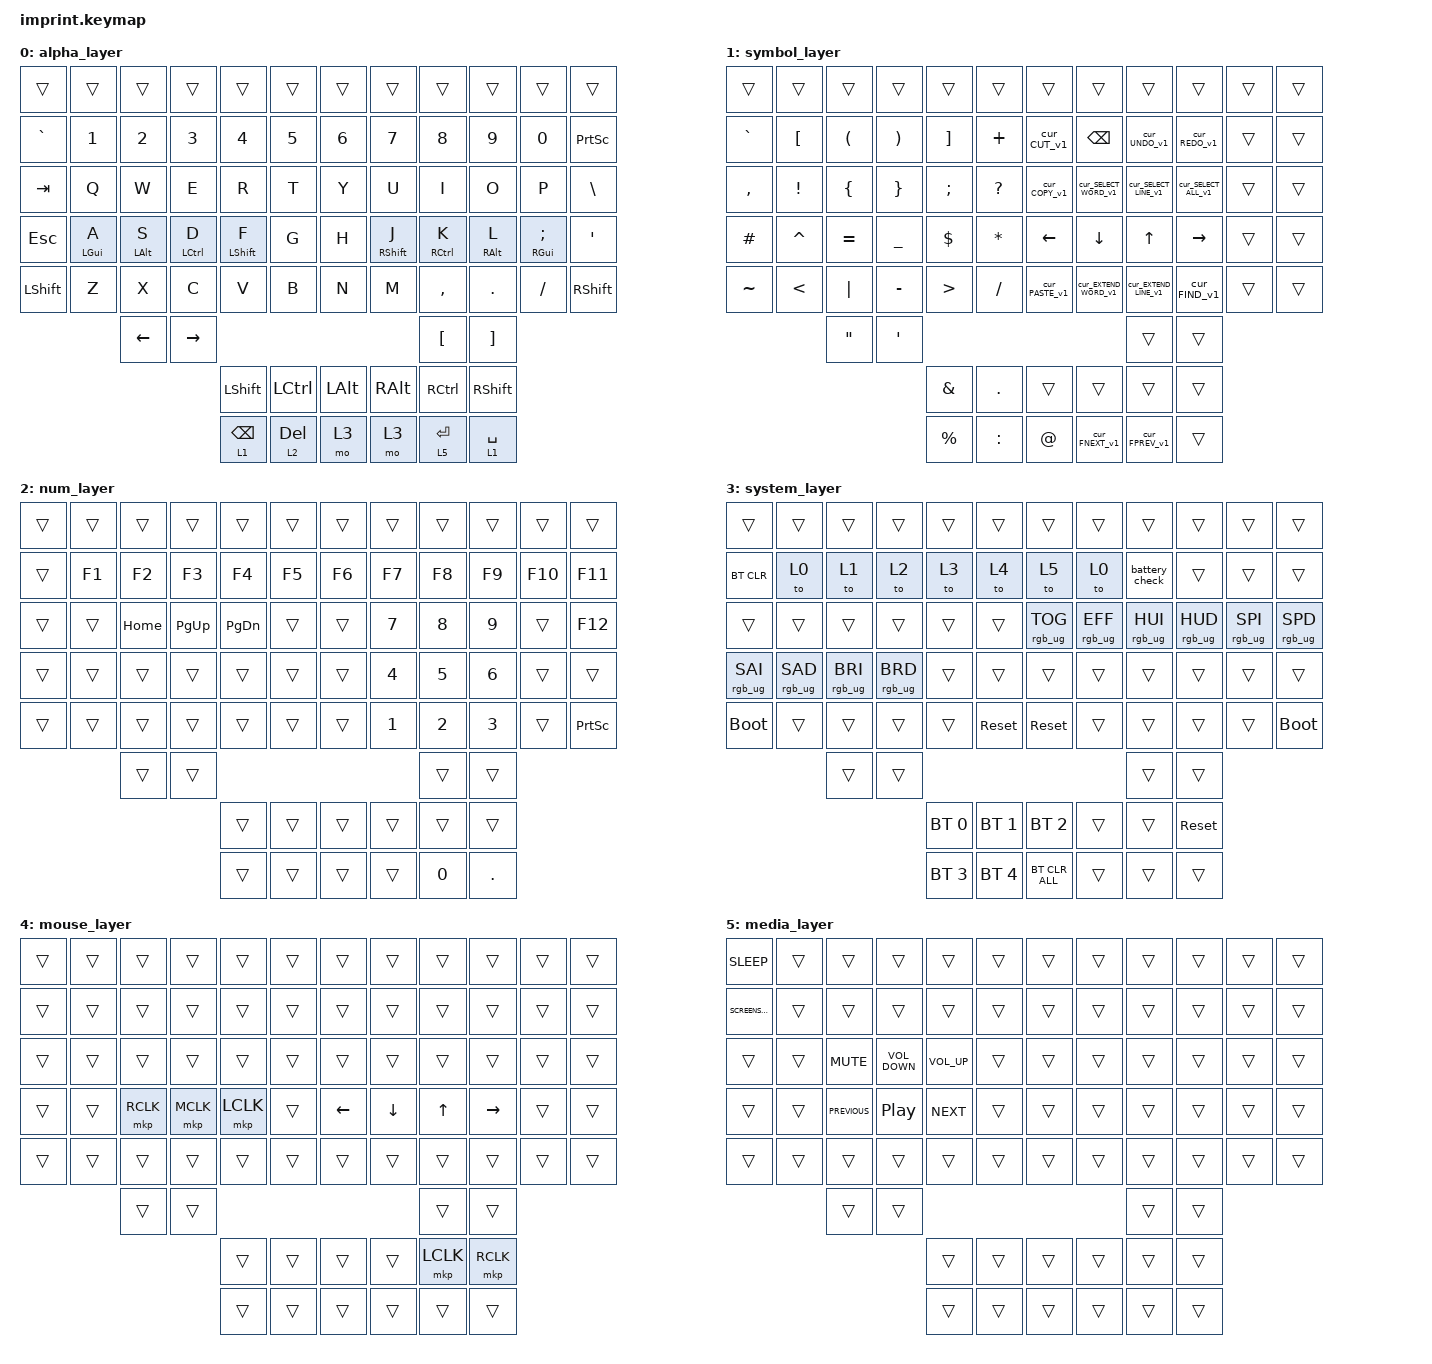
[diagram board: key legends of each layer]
#include <input/processors.dtsi>
#include <dt-bindings/zmk/input_transform.h>
#include <behaviors.dtsi>
#include <dt-bindings/zmk/bt.h>
#include <dt-bindings/zmk/keys.h>
#include <dt-bindings/zmk/pointing.h>
#include <dt-bindings/zmk/rgb.h>

/ {
    chosen { zmk,matrix-transform = &imprint_function_row; };

    behaviors {
        CAPSWord_v1: CAPSWord_v1 {
            compatible = "zmk,behavior-hold-tap";
            #binding-cells = <2>;
            tapping-term-ms = <200>;
            bindings = <&kp>, <&caps_word>;
        };

        HRM_left_index_v1: HRM_left_index_v1 {
            compatible = "zmk,behavior-hold-tap";
            #binding-cells = <2>;
            tapping-term-ms = <170>;
            bindings = <&kp>, <&kp>;

            flavor = "tap-preferred";
            quick-tap-ms = <300>;
            require-prior-idle-ms = <100>;
            hold-trigger-key-positions = <57 56 55 72 73 74 5 6 7 8 16 17 18 19 20 28 29 30 31 32 40 41 42 43 44 58 59 60 61 62 75 76 77 78 9 21 33 45 63 79 52 53 54 70 71 69>;
            hold-trigger-on-release;
        };

        HRM_left_middy_v1: HRM_left_middy_v1 {
            compatible = "zmk,behavior-hold-tap";
            #binding-cells = <2>;
            tapping-term-ms = <210>;
            bindings = <&kp>, <&kp>;

            flavor = "tap-preferred";
            quick-tap-ms = <300>;
            require-prior-idle-ms = <150>;
            hold-trigger-key-positions = <57 56 55 72 73 74 5 6 7 8 16 17 18 19 20 28 29 30 31 32 40 41 42 43 44 58 59 60 61 62 75 76 77 78 9 21 33 45 63 79 52 53 54 69 70 71>;
            hold-trigger-on-release;
        };

        HRM_left_pinky_v1: HRM_left_pinky_v1 {
            compatible = "zmk,behavior-hold-tap";
            #binding-cells = <2>;
            tapping-term-ms = <210>;
            bindings = <&kp>, <&kp>;

            flavor = "tap-preferred";
            quick-tap-ms = <300>;
            require-prior-idle-ms = <150>;
            hold-trigger-key-positions = <57 56 55 72 73 74 5 6 7 8 9 16 17 18 19 20 21 29 30 31 32 33 42 43 44 45 60 61 62 63 28 40 41 58 59 75 76 77 79 78 52 53 54 69 70 71>;
            hold-trigger-on-release;
        };

        HRM_left_ring_v1: HRM_left_ring_v1 {
            compatible = "zmk,behavior-hold-tap";
            #binding-cells = <2>;
            tapping-term-ms = <200>;
            bindings = <&kp>, <&kp>;

            flavor = "tap-preferred";
            quick-tap-ms = <300>;
            require-prior-idle-ms = <150>;
            hold-trigger-key-positions = <57 56 55 72 73 74 5 6 7 8 16 17 18 19 20 28 29 30 31 32 40 41 42 43 44 58 59 60 61 62 75 76 77 78 9 21 33 45 63 79 52 53 54 69 70 71>;
            hold-trigger-on-release;
        };

        HRM_right_index_v1: HRM_right_index_v1 {
            compatible = "zmk,behavior-hold-tap";
            #binding-cells = <2>;
            tapping-term-ms = <170>;
            bindings = <&kp>, <&kp>;

            flavor = "tap-preferred";
            quick-tap-ms = <300>;
            require-prior-idle-ms = <100>;
            hold-trigger-key-positions = <52 53 54 71 70 69 0 1 10 11 12 13 14 22 23 24 25 26 27 34 35 36 37 38 39 46 47 48 49 50 51 64 65 66 67 68 15 4 2 3 55 56 57 72 73 74>;
            hold-trigger-on-release;
        };

        HRM_right_middy_v1: HRM_right_middy_v1 {
            compatible = "zmk,behavior-hold-tap";
            #binding-cells = <2>;
            tapping-term-ms = <210>;
            bindings = <&kp>, <&kp>;

            flavor = "tap-preferred";
            quick-tap-ms = <300>;
            require-prior-idle-ms = <150>;
            hold-trigger-key-positions = <52 53 54 71 70 69 0 1 10 11 12 13 14 22 23 24 25 26 27 34 35 36 37 38 39 46 47 48 49 50 51 64 65 66 67 68 15 4 2 3 55 56 57 72 73 74>;
            hold-trigger-on-release;
        };

        HRM_right_pinky_v1: HRM_right_pinky_v1 {
            compatible = "zmk,behavior-hold-tap";
            #binding-cells = <2>;
            tapping-term-ms = <210>;
            bindings = <&kp>, <&kp>;

            flavor = "tap-preferred";
            quick-tap-ms = <300>;
            require-prior-idle-ms = <150>;
            hold-trigger-key-positions = <52 53 54 71 70 69 0 1 10 11 12 13 14 22 23 24 25 26 27 34 35 36 37 38 39 46 47 48 49 50 51 64 65 66 67 68 15 4 2 3 55 56 57 72 73 74>;
            hold-trigger-on-release;
        };

        HRM_right_ring_v1: HRM_right_ring_v1 {
            compatible = "zmk,behavior-hold-tap";
            #binding-cells = <2>;
            tapping-term-ms = <200>;
            bindings = <&kp>, <&kp>;

            flavor = "tap-preferred";
            quick-tap-ms = <300>;
            require-prior-idle-ms = <150>;
            hold-trigger-key-positions = <52 53 54 71 70 69 0 1 10 11 12 13 14 22 23 24 25 26 27 34 35 36 37 38 39 46 47 48 49 50 51 64 65 66 67 68 15 4 2 3 55 56 57 72 73 74>;
            hold-trigger-on-release;
        };

        space_v1: space_v1 {
            compatible = "zmk,behavior-hold-tap";
            #binding-cells = <2>;
            tapping-term-ms = <200>;
            bindings = <&mo>, <&kp>;

            flavor = "balanced";
            quick-tap-ms = <150>;
            retro-tap;
        };

        thumb_v1: thumb_v1 {
            compatible = "zmk,behavior-hold-tap";
            #binding-cells = <2>;
            tapping-term-ms = <170>;
            bindings = <&mo>, <&kp>;

            flavor = "balanced";
            quick-tap-ms = <300>;
        };
    };

    combos {
        compatible = "zmk,combos";

        capsword {
            bindings = <&CAPSWord_v1 LSHIFT 0>;
            key-positions = <64 69>;
        };
    };

    macros {
        cur_COPY_v1: cur_COPY_v1 {
            label = "&CUR_COPY_V1";
            compatible = "zmk,behavior-macro";
            #binding-cells = <0>;
            bindings = <&kp LC(C)>;
        };

        cur_CUT_v1: cur_CUT_v1 {
            label = "&CUR_CUT_V1";
            compatible = "zmk,behavior-macro";
            #binding-cells = <0>;
            bindings = <&kp LC(X)>;
        };

        cur_PASTE_v1: cur_PASTE_v1 {
            label = "&CUR_PASTE_V1";
            compatible = "zmk,behavior-macro";
            #binding-cells = <0>;
            bindings = <&kp LC(V)>;
        };

        cur_UNDO_v1: cur_UNDO_v1 {
            label = "&CUR_UNDO_V1";
            compatible = "zmk,behavior-macro";
            #binding-cells = <0>;
            bindings = <&kp LC(Z)>;
        };

        cur_REDO_v1: cur_REDO_v1 {
            label = "&CUR_REDO_V1";
            compatible = "zmk,behavior-macro";
            #binding-cells = <0>;
            bindings = <&kp LC(Y)>;
        };

        cur_SELECT_ALL_v1: cur_SELECT_ALL_v1 {
            label = "&CUR_SELECT_ALL_V1";
            compatible = "zmk,behavior-macro";
            #binding-cells = <0>;
            bindings = <&kp LC(A)>;
        };

        cur_SELECT_WORD_v1: cur_SELECT_WORD_v1 {
            label = "&CUR_SELECT_WORD_V1";
            compatible = "zmk,behavior-macro";
            #binding-cells = <0>;
            tap-ms = <1>;
            wait-ms = <1>;
            bindings = <&kp LC(LEFT) &kp LC(LS(RIGHT))>;
        };

        cur_SELECT_LINE_v1: cur_SELECT_LINE_v1 {
            label = "&CUR_SELECT_LINE_V1";
            compatible = "zmk,behavior-macro";
            #binding-cells = <0>;
            tap-ms = <1>;
            wait-ms = <1>;
            bindings = <&kp HOME &kp LS(END)>;
        };

        cur_EXTEND_WORD_v1: cur_EXTEND_WORD_v1 {
            label = "&CUR_EXTEND_WORD_V1";
            compatible = "zmk,behavior-macro";
            #binding-cells = <0>;
            tap-ms = <1>;
            wait-ms = <1>;
            bindings = <&kp LC(LS(RIGHT))>;
        };

        cur_EXTEND_LINE_v1: cur_EXTEND_LINE_v1 {
            label = "&CUR_EXTEND_LINE_V1";
            compatible = "zmk,behavior-macro";
            #binding-cells = <0>;
            tap-ms = <1>;
            wait-ms = <1>;
            bindings = <&kp LS(END)>;
        };

        cur_FIND_v1: cur_FIND_v1 {
            label = "&CUR_FIND_V1";
            compatible = "zmk,behavior-macro";
            #binding-cells = <0>;
            bindings = <&kp LC(F)>;
        };

        cur_FNEXT_v1: cur_FNEXT_v1 {
            label = "&CUR_FNEXT_V1";
            compatible = "zmk,behavior-macro";
            #binding-cells = <0>;
            bindings = <&kp LC(G)>;
        };

        cur_FPREV_v1: cur_FPREV_v1 {
            label = "&CUR_FPREV_V1";
            compatible = "zmk,behavior-macro";
            #binding-cells = <0>;
            bindings = <&kp LS(LC(G))>;
        };

        battery_check: battery_check {
            label = "BATTERY_CHECK";
            compatible = "zmk,behavior-macro";
            #binding-cells = <0>;
            bindings =
                <&rgb_ug RGB_COLOR_HSB(120,100,50)>,
                <&macro_pause_for_release>,
                <&rgb_ug RGB_TOG>;
        };
    };

    keymap {
        compatible = "zmk,keymap";

        alpha_layer {
            bindings = <
&trans      &trans                     &trans                    &trans                      &trans                       &trans                              &trans         &trans                             &trans                       &trans                     &trans                         &trans
&kp GRAVE   &kp N1                     &kp N2                    &kp N3                      &kp N4                       &kp N5                              &kp N6         &kp N7                             &kp N8                       &kp N9                     &kp N0                         &kp PRINTSCREEN
&kp TAB     &kp Q                      &kp W                     &kp E                       &kp R                        &kp T                               &kp Y          &kp U                              &kp I                        &kp O                      &kp P                          &kp BSLH
&kp ESCAPE  &HRM_left_pinky_v1 LGUI A  &HRM_left_ring_v1 LALT S  &HRM_left_middy_v1 LCTRL D  &HRM_left_index_v1 LSHIFT F  &kp G                               &kp H          &HRM_right_index_v1 RIGHT_SHIFT J  &HRM_right_middy_v1 RCTRL K  &HRM_right_ring_v1 RALT L  &HRM_right_pinky_v1 RGUI SEMI  &kp SQT
&kp LSHFT   &kp Z                      &kp X                     &kp C                       &kp V                        &kp B                               &kp N          &kp M                              &kp COMMA                    &kp DOT                    &kp FSLH                       &kp RSHFT
                                       &kp LEFT                  &kp RIGHT                                                                                                                                      &kp LEFT_BRACKET             &kp RIGHT_BRACKET
                                                                                             &kp LEFT_SHIFT               &kp LCTRL           &kp LEFT_ALT    &kp RIGHT_ALT  &kp RIGHT_CONTROL                  &kp RIGHT_SHIFT
                                                                                             &thumb_v1 1 BACKSPACE        &thumb_v1 2 DELETE  &mo 3           &mo 3          &thumb_v1 5 ENTER                  &space_v1 1 SPACE
            >;
        };

        symbol_layer {
            bindings = <
&trans     &trans     &trans             &trans     &trans         &trans                    &trans         &trans               &trans               &trans              &trans  &trans
&kp GRAVE  &kp LBKT   &kp LPAR           &kp RPAR   &kp RBKT       &kp PLUS                  &cur_CUT_v1    &kp BSPC             &cur_UNDO_v1         &cur_REDO_v1        &trans  &trans
&kp COMMA  &kp EXCL   &kp LBRC           &kp RBRC   &kp SEMI       &kp QMARK                 &cur_COPY_v1   &cur_SELECT_WORD_v1  &cur_SELECT_LINE_v1  &cur_SELECT_ALL_v1  &trans  &trans
&kp HASH   &kp CARET  &kp EQUAL          &kp UNDER  &kp DLLR       &kp ASTRK                 &kp LEFT       &kp DOWN             &kp UP               &kp RIGHT           &trans  &trans
&kp TILDE  &kp LT     &kp PIPE           &kp MINUS  &kp GT         &kp FSLH                  &cur_PASTE_v1  &cur_EXTEND_WORD_v1  &cur_EXTEND_LINE_v1  &cur_FIND_v1        &trans  &trans
                      &kp DOUBLE_QUOTES  &kp SQT                                                                                 &trans               &trans
                                                    &kp AMPERSAND  &kp DOT    &trans         &trans         &trans               &trans
                                                    &kp PRCNT      &kp COLON  &kp AT_SIGN    &cur_FNEXT_v1  &cur_FPREV_v1        &trans
            >;
        };

        num_layer {
            bindings = <
&trans  &trans  &trans    &trans       &trans         &trans            &trans  &trans  &trans   &trans  &trans   &trans
&trans  &kp F1  &kp F2    &kp F3       &kp F4         &kp F5            &kp F6  &kp F7  &kp F8   &kp F9  &kp F10  &kp F11
&trans  &trans  &kp HOME  &kp PAGE_UP  &kp PAGE_DOWN  &trans            &trans  &kp N7  &kp N8   &kp N9  &trans   &kp F12
&trans  &trans  &trans    &trans       &trans         &trans            &trans  &kp N4  &kp N5   &kp N6  &trans   &trans
&trans  &trans  &trans    &trans       &trans         &trans            &trans  &kp N1  &kp N2   &kp N3  &trans   &kp PRINTSCREEN
                &trans    &trans                                                        &trans   &trans
                                       &trans         &trans  &trans    &trans  &trans  &trans
                                       &trans         &trans  &trans    &trans  &kp N0  &kp DOT
            >;
        };

        system_layer {
            bindings = <
&trans           &trans           &trans           &trans           &trans        &trans                          &trans           &trans           &trans           &trans           &trans           &trans
&bt BT_CLR       &to 0            &to 1            &to 2            &to 3         &to 4                           &to 5            &to 0            &battery_check   &trans           &trans           &trans
&trans           &trans           &trans           &trans           &trans        &trans                          &rgb_ug RGB_TOG  &rgb_ug RGB_EFF  &rgb_ug RGB_HUI  &rgb_ug RGB_HUD  &rgb_ug RGB_SPI  &rgb_ug RGB_SPD
&rgb_ug RGB_SAI  &rgb_ug RGB_SAD  &rgb_ug RGB_BRI  &rgb_ug RGB_BRD  &trans        &trans                          &trans           &trans           &trans           &trans           &trans           &trans
&bootloader      &trans           &trans           &trans           &trans        &sys_reset                      &sys_reset       &trans           &trans           &trans           &trans           &bootloader
                                  &trans           &trans                                                                                           &trans           &trans
                                                                    &bt BT_SEL 0  &bt BT_SEL 1  &bt BT_SEL 2      &trans           &trans           &sys_reset
                                                                    &bt BT_SEL 3  &bt BT_SEL 4  &bt BT_CLR_ALL    &trans           &trans           &trans
            >;
        };

        mouse_layer {
            bindings = <
&trans  &trans  &trans     &trans     &trans     &trans            &trans    &trans     &trans     &trans     &trans  &trans
&trans  &trans  &trans     &trans     &trans     &trans            &trans    &trans     &trans     &trans     &trans  &trans
&trans  &trans  &trans     &trans     &trans     &trans            &trans    &trans     &trans     &trans     &trans  &trans
&trans  &trans  &mkp RCLK  &mkp MCLK  &mkp LCLK  &trans            &kp LEFT  &kp DOWN   &kp UP     &kp RIGHT  &trans  &trans
&trans  &trans  &trans     &trans     &trans     &trans            &trans    &trans     &trans     &trans     &trans  &trans
                &trans     &trans                                                       &trans     &trans
                                      &trans     &trans  &trans    &trans    &mkp LCLK  &mkp RCLK
                                      &trans     &trans  &trans    &trans    &trans     &trans
            >;
        };

        media_layer {
            bindings = <
&kp C_SLEEP        &trans  &trans          &trans             &trans           &trans            &trans  &trans  &trans  &trans  &trans  &trans
&kp K_SCREENSAVER  &trans  &trans          &trans             &trans           &trans            &trans  &trans  &trans  &trans  &trans  &trans
&trans             &trans  &kp K_MUTE      &kp C_VOLUME_DOWN  &kp C_VOLUME_UP  &trans            &trans  &trans  &trans  &trans  &trans  &trans
&trans             &trans  &kp C_PREVIOUS  &kp C_PLAY_PAUSE   &kp C_NEXT       &trans            &trans  &trans  &trans  &trans  &trans  &trans
&trans             &trans  &trans          &trans             &trans           &trans            &trans  &trans  &trans  &trans  &trans  &trans
                           &trans          &trans                                                                &trans  &trans
                                                              &trans           &trans  &trans    &trans  &trans  &trans
                                                              &trans           &trans  &trans    &trans  &trans  &trans
            >;
        };
    };
};

&trackball_central_listener {
    input-processors =
        <&zip_xy_scaler 1 16>,
        <&zip_xy_to_scroll_mapper>,
        <&zip_scroll_transform INPUT_TRANSFORM_Y_INVERT>;
};

&trackball_peripheral_listener { input-processors = <&zip_temp_layer 4 500>; };
